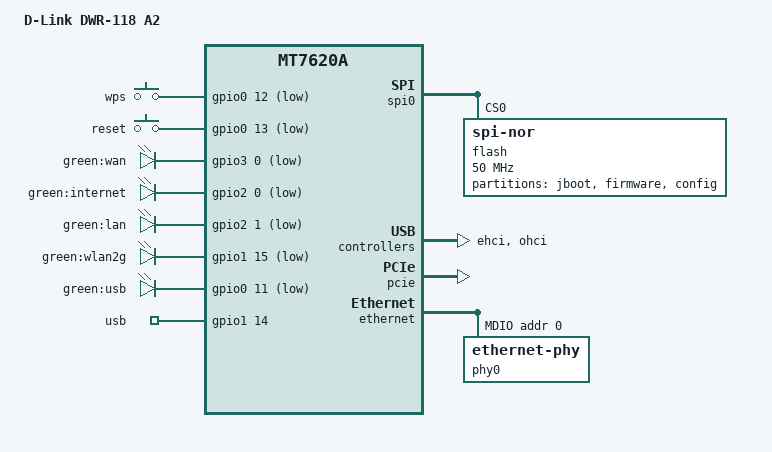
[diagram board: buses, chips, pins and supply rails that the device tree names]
#include "mt7620a.dtsi"

#include <dt-bindings/gpio/gpio.h>
#include <dt-bindings/input/input.h>
#include <dt-bindings/mtd/partitions/uimage.h>

/ {
	compatible = "dlink,dwr-118-a2", "ralink,mt7620a-soc";
	model = "D-Link DWR-118 A2";

	aliases {
		led-boot = &led_internet;
		led-failsafe = &led_internet;
	};

	keys {
		compatible = "gpio-keys";

		wps {
			label = "wps";
			gpios = <&gpio0 12 GPIO_ACTIVE_LOW>;
			linux,code = <KEY_WPS_BUTTON>;
		};

		reset {
			label = "reset";
			gpios = <&gpio0 13 GPIO_ACTIVE_LOW>;
			linux,code = <KEY_RESTART>;
		};
	};

	leds {
		compatible = "gpio-leds";

		wan {
			label = "green:wan";
			gpios = <&gpio3 0 GPIO_ACTIVE_LOW>;
		};

		led_internet: internet {
			label = "green:internet";
			gpios = <&gpio2 0 GPIO_ACTIVE_LOW>;
		};

		lan {
			label = "green:lan";
			gpios = <&gpio2 1 GPIO_ACTIVE_LOW>;
		};

		wlan2g {
			label = "green:wlan2g";
			gpios = <&gpio1 15 GPIO_ACTIVE_LOW>;
		};

		usb {
			label = "green:usb";
			gpios = <&gpio0 11 GPIO_ACTIVE_LOW>;
			trigger-sources = <&ohci_port1>, <&ehci_port1>;
			linux,default-trigger = "usbport";
		};
	};

	gpio_export {
		compatible = "gpio-export";
		#size-cells = <0>;

		usb {
			gpio-export,name = "usb";
			gpio-export,output = <1>;
			gpios = <&gpio1 14 GPIO_ACTIVE_HIGH>;
		};
	};
};

&gpio1 {
	status = "okay";
};

&gpio2 {
	status = "okay";
};

&gpio3 {
	status = "okay";
};

&spi0 {
	status = "okay";

	flash@0 {
		compatible = "jedec,spi-nor";
		reg = <0>;
		spi-max-frequency = <50000000>;

		partitions {
			compatible = "fixed-partitions";
			#address-cells = <1>;
			#size-cells = <1>;

			partition@0 {
				label = "jboot";
				reg = <0x0 0x10000>;
				read-only;
			};

			partition@10000 {
				compatible = "openwrt,uimage", "denx,uimage";
				openwrt,ih-magic = <IH_MAGIC_OKLI>;
				openwrt,offset = <0x10000>;
				label = "firmware";
				reg = <0x10000 0xfe0000>;
			};

			config: partition@ff0000 {
				label = "config";
				reg = <0xff0000 0x10000>;
				read-only;
			};
		};
	};
};

&ehci {
	status = "okay";
};

&ohci {
	status = "okay";
};

&state_default {
	default {
		groups = "ephy", "uartf", "spi refclk", "wled";
		function = "gpio";
	};
};

&pcie {
	status = "okay";
};

&pcie0 {
	wifi@0,0 {
		reg = <0x0000 0 0 0 0>;
		ieee80211-freq-limit = <5000000 6000000>;
		nvmem-cells = <&macaddr_config_e4a8>;
		nvmem-cell-names = "mac-address";
		mac-address-increment = <(2)>;

		led {
			led-sources = <2>;
			led-active-low;
		};
	};
};

&ethernet {
	pinctrl-names = "default";
	pinctrl-0 = <&rgmii1_pins &mdio_pins>;

	mediatek,portmap = "wllll";

	port@4 {
		status = "okay";
		phy-handle = <&phy0>;
		phy-mode = "rgmii";
	};

	mdio-bus {
		status = "okay";

		phy0: ethernet-phy@0 {
			reg = <0>;
			phy-mode = "rgmii-rxid";
		};
	};
};

&gsw {
	mediatek,port4-gmac;
	mediatek,ephy-base = /bits/ 8 <2>;
};

&config {
	compatible = "nvmem-cells";
	#address-cells = <1>;
	#size-cells = <1>;

	macaddr_config_e4a8: macaddr@e4a8 {
		reg = <0xe4a8 0x6>;
	};
};
